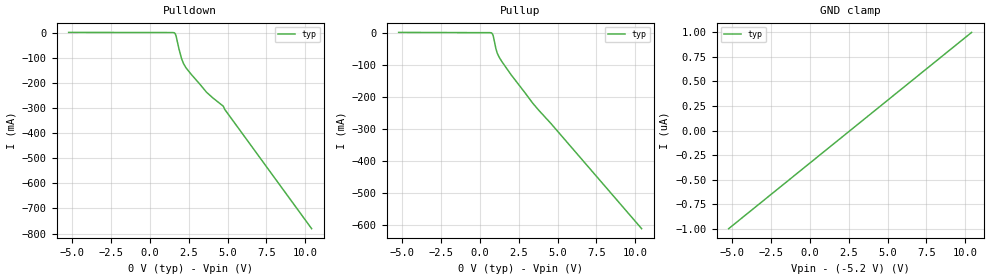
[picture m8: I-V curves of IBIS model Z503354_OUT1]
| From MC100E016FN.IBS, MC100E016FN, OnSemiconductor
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| (C) COPYRIGHT 1993-2000
| MENTOR GRAPHICS CORPORATION
| ICX STANDARD LIBRARY, ICX PROJECT MODELING,
| ICX CUSTOM MODELING, ICX VENDOR MODEL
| ALL RIGHTS RESERVED.
| THE FOLLOWING ARE TRADEMARKS OR SERVICE MARKS OF
| MENTOR GRAPHICS CORPORATION:ICX (R), ICX STANDARD
| LIBRARY(R), ICX PROJECT MODELING(R), ICX CUSTOM
| MODELING(R), qualityIBIS(TM), MODELVIEWER(TM),
| AND MODELEDITOR(TM)
| ALL COPIES OF SOFTWARE, INCLUDING BUT NOT LIMITED TO
| ANY MODIFICATIONS, ENHANCEMENTS OR DERIVATIVE WORKS,
| MUST CONTAIN ALL MENTOR GRAPHICS CORPORATION'S
| NOTICES AND LEGENDS, INCLUDING THOSE EMBEDDED IN
| SOFTWARE AND THOSE AFFIXED TO SOFTWARE MEDIUM
| AND CONTAINER, AS RECEIVED FROM MENTOR GRAPHICS
| CORPORATION.
| Model Application Version 1.89 2/18/99.
[Model] Z503354_OUT1
Model_type Output_ECL
Vref=-2.000V
Rref=50.00ohms
Cref=0.000F
Vmeas=-1.320V
C_comp 8.000pF NA NA
| variable typ   min   max
[Voltage Range] -5.200V NA NA
[POWER Clamp Reference] 0.000V NA NA
[Pullup Reference] 0.000V NA NA
[Pulldown Reference] 0.000V NA NA
[GND Clamp Reference] -5.200V NA NA
[GND Clamp]
-5.2V     -1uA       NA         NA
10.4V     1uA        NA         NA
[Pulldown]
-5.2V     548uA      NA         NA
1.602V    -1.932mA   NA         NA
1.656V    -6.593mA   NA         NA
1.704V    -15.4mA    NA         NA
1.886V    -66.29mA   NA         NA
2.062V    -106.2mA   NA         NA
2.185V    -124.7mA   NA         NA
2.345V    -141.3mA   NA         NA
3.658V    -237.9mA   NA         NA
4.733V    -293.3mA   NA         NA
4.821V    -305.7mA   NA         NA
10.4V     -780.2mA   NA         NA
[Pullup]
-5.2V     800.7uA    NA         NA
783.5mV   -1.627mA   NA         NA
873.6mV   -10.41mA   NA         NA
1.047V    -50.54mA   NA         NA
1.133V    -64.53mA   NA         NA
1.257V    -76.99mA   NA         NA
2.035V    -132.5mA   NA         NA
3.415V    -220.6mA   NA         NA
4.565V    -283mA     NA         NA
10.4V     -612mA     NA         NA
[POWER Clamp]
-5.2V     0A         NA         NA
10.4V     0A         NA         NA
[Ramp]
| variable typ min max
dV/dt_r 462.8m/332.6p NA NA
dV/dt_f 462.8m/340.2p NA NA
R_load = 500.0Ohms
